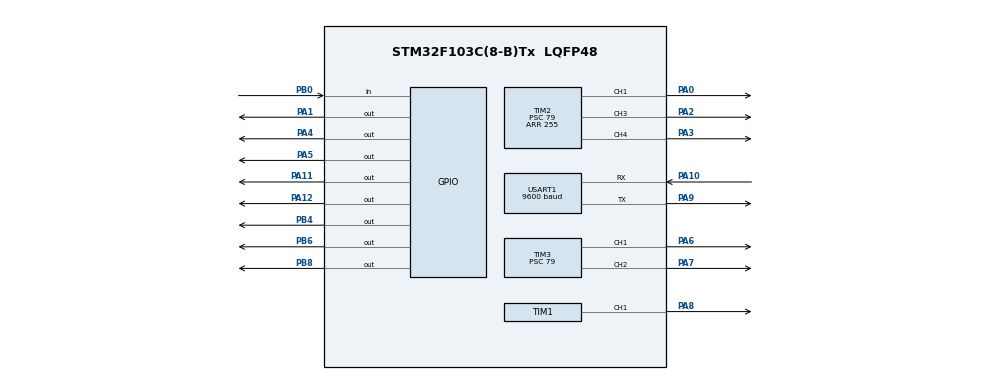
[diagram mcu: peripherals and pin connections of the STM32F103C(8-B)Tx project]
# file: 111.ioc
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Mcu.Family=STM32F1
Mcu.Name=STM32F103C(8-B)Tx
Mcu.Package=LQFP48
NVIC.PriorityGroup=NVIC_PRIORITYGROUP_4
NVIC.TIM4_IRQn=true\:0\:0\:false\:false\:true\:true\:true
NVIC.USART1_IRQn=true\:0\:0\:false\:false\:true\:true\:true
PA0-WKUP.Signal=S_TIM2_CH1_ETR
PA1.Signal=GPIO_Output
PA10.Mode=Asynchronous
PA10.Signal=USART1_RX
PA11.Signal=GPIO_Output
PA12.GPIO_PuPd=GPIO_PULLUP
PA12.Signal=GPIO_Output
PA13.Mode=Serial_Wire
PA13.Signal=SYS_JTMS-SWDIO
PA14.Mode=Serial_Wire
PA14.Signal=SYS_JTCK-SWCLK
PA2.Signal=S_TIM2_CH3
PA3.Signal=S_TIM2_CH4
PA4.GPIO_PuPd=GPIO_PULLUP
PA4.Signal=GPIO_Output
PA5.GPIO_PuPd=GPIO_PULLUP
PA5.Signal=GPIO_Output
PA6.Signal=S_TIM3_CH1
PA7.Signal=S_TIM3_CH2
PA8.Signal=S_TIM1_CH1
PA9.Mode=Asynchronous
PA9.Signal=USART1_TX
PB0.Signal=GPIO_Input
PB4.GPIO_PuPd=GPIO_PULLDOWN
PB4.PinState=GPIO_PIN_RESET
PB4.Signal=GPIO_Output
PB6.GPIO_ModeDefaultOutputPP=GPIO_MODE_OUTPUT_PP
PB6.GPIO_PuPd=GPIO_PULLDOWN
PB6.PinState=GPIO_PIN_RESET
PB6.Signal=GPIO_Output
PB8.GPIO_ModeDefaultOutputPP=GPIO_MODE_OUTPUT_PP
PB8.GPIO_PuPd=GPIO_PULLUP
PB8.PinState=GPIO_PIN_SET
PB8.Signal=GPIO_Output
PD0-OSC_IN.Mode=HSE-External-Clock-Source
PD0-OSC_IN.Signal=RCC_OSC_IN
PD1-OSC_OUT.Mode=HSE-External-Clock-Source
PD1-OSC_OUT.Signal=RCC_OSC_OUT
ProjectManager.HeapSize=0x200
ProjectManager.StackSize=0x400
ProjectManager.TargetToolchain=EWARM V8
RCC.AHBFreq_Value=8000000
RCC.APB1Freq_Value=8000000
RCC.APB1TimFreq_Value=8000000
RCC.APB2Freq_Value=8000000
RCC.APB2TimFreq_Value=8000000
RCC.HCLKFreq_Value=8000000
RCC.PLLSourceVirtual=RCC_PLLSOURCE_HSE
RCC.SYSCLKFreq_VALUE=8000000
RCC.USBFreq_Value=16000000
SH.S_TIM1_CH1.0=TIM1_CH1,PWM Generation1 CH1
SH.S_TIM2_CH1_ETR.0=TIM2_CH1,PWM Generation1 CH1
SH.S_TIM2_CH3.0=TIM2_CH3,PWM Generation3 CH3
SH.S_TIM2_CH4.0=TIM2_CH4,PWM Generation4 CH4
SH.S_TIM3_CH1.0=TIM3_CH1,PWM Generation1 CH1
SH.S_TIM3_CH2.0=TIM3_CH2,PWM Generation2 CH2
TIM1.AutoReloadPreload=TIM_AUTORELOAD_PRELOAD_ENABLE
TIM1.Channel-PWM\ Generation1\ CH1=TIM_CHANNEL_1
TIM1.OCFastMode_PWM-PWM\ Generation1\ CH1=TIM_OCFAST_ENABLE
TIM1.Period=255
TIM1.Prescaler=79
TIM1.Pulse-PWM\ Generation1\ CH1=50
TIM2.AutoReloadPreload=TIM_AUTORELOAD_PRELOAD_ENABLE
TIM2.Channel-PWM\ Generation1\ CH1=TIM_CHANNEL_1
TIM2.Channel-PWM\ Generation3\ CH3=TIM_CHANNEL_3
TIM2.Channel-PWM\ Generation4\ CH4=TIM_CHANNEL_4
TIM2.OCFastMode_PWM-PWM\ Generation1\ CH1=TIM_OCFAST_ENABLE
TIM2.OCFastMode_PWM-PWM\ Generation4\ CH4=TIM_OCFAST_ENABLE
TIM2.Period=255
TIM2.Prescaler=79
TIM2.Pulse-PWM\ Generation1\ CH1=50
TIM2.Pulse-PWM\ Generation3\ CH3=50
TIM2.Pulse-PWM\ Generation4\ CH4=50
TIM3.AutoReloadPreload=TIM_AUTORELOAD_PRELOAD_ENABLE
TIM3.Channel-PWM\ Generation1\ CH1=TIM_CHANNEL_1
TIM3.Channel-PWM\ Generation2\ CH2=TIM_CHANNEL_2
TIM3.OCFastMode_PWM-PWM\ Generation1\ CH1=TIM_OCFAST_ENABLE
TIM3.OCFastMode_PWM-PWM\ Generation2\ CH2=TIM_OCFAST_ENABLE
TIM3.Period=255
TIM3.Prescaler=79
TIM3.Pulse-PWM\ Generation1\ CH1=50
TIM3.Pulse-PWM\ Generation2\ CH2=50
TIM4.AutoReloadPreload=TIM_AUTORELOAD_PRELOAD_ENABLE
TIM4.Channel-Output\ Compare2\ No\ Output=TIM_CHANNEL_2
TIM4.OCMode_2=TIM_OCMODE_TOGGLE
TIM4.Period=10000
TIM4.Prescaler=79
USART1.BaudRate=9600
USART1.VirtualMode=VM_ASYNC
VP_TIM4_VS_no_output2.Mode=Output Compare2 No Output
board=custom

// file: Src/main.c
/* USER CODE BEGIN Header */
/**
******************************************************************************
* @file           : main.c
* @brief          : Main program body
******************************************************************************
* @attention
*
* <h2><center>&copy; Copyright (c) 2019 STMicroelectronics.
* All rights reserved.</center></h2>
*
* This software component is licensed by ST under BSD 3-Clause license,
* the "License"; You may not use this file except in compliance with the
* License. You may obtain a copy of the License at:
*                        opensource.org/licenses/BSD-3-Clause
*
******************************************************************************
*/
/* USER CODE END Header */

#include "main.h"

void SystemClock_Config(void);
static void MX_GPIO_Init(void);
static void MX_TIM2_Init(void);
static void MX_TIM3_Init(void);
static void MX_USART1_UART_Init(void);
static void MX_TIM1_Init(void);
static void MX_TIM4_Init(void);
/* USER CODE BEGIN PFP */
void direct(uint8_t);

/* USER CODE END PFP */

/* USER CODE BEGIN 0 */

void direct(uint8_t dir){

    GPIOA->BSRR |= GPIO_BSRR_BR4;   /* Enable DIR_EN */
    GPIOA->BSRR |= GPIO_BSRR_BR11;  /*  DIR_LATCH LOW */
    GPIOA->BSRR |= GPIO_BSRR_BR1;   /*  DIR_CLK_LOW */
  for(int i=0; i<=7; i++){
    GPIOA->BSRR |= GPIO_BSRR_BR1;   /*  DIR_CLK_LOW */
  //  LL_mDelay(10);
    if (dir&0x01U==1){
      GPIOA->BSRR |= GPIO_BSRR_BS5; /*  DIR_SER_HIGHT */
    }
    else{
      GPIOA->BSRR |= GPIO_BSRR_BR5;  /*  DIR_SER_LOW */
    }
    GPIOA->BSRR |= GPIO_BSRR_BS1;   /*  DIR_CLK_HIGHT */
    dir>>=0x01U;
 //   LL_mDelay(10);
  }
    GPIOA->BSRR |= GPIO_BSRR_BS11;  /*  DIR_LATCH HIGHT */
 //   LL_mDelay(10);
    GPIOA->BSRR |= GPIO_BSRR_BR11;  /*  DIR_LATCH LOW */
}

/* USER CODE END 0 */

int main(void)
{

  /* MCU Configuration--------------------------------------------------------*/

  /* Reset of all peripherals, Initializes the Flash interface and the Systick. */

  LL_APB2_GRP1_EnableClock(LL_APB2_GRP1_PERIPH_AFIO);
  LL_APB1_GRP1_EnableClock(LL_APB1_GRP1_PERIPH_PWR);

  NVIC_SetPriorityGrouping(NVIC_PRIORITYGROUP_4);

  /* System interrupt init*/

  /** NOJTAG: JTAG-DP Disabled and SW-DP Enabled
  */
  LL_GPIO_AF_Remap_SWJ_NOJTAG();

  /* Configure the system clock */
  SystemClock_Config();

  /* Initialize all configured peripherals */
  MX_GPIO_Init();
  MX_TIM2_Init();
  MX_TIM3_Init();
  MX_USART1_UART_Init();
  MX_TIM1_Init();
  MX_TIM4_Init();
  /* USER CODE BEGIN 2 */
  LL_TIM_CC_EnableChannel(TIM2, LL_TIM_CHANNEL_CH1);
  LL_TIM_CC_EnableChannel(TIM2, LL_TIM_CHANNEL_CH3);
  LL_TIM_CC_EnableChannel(TIM2, LL_TIM_CHANNEL_CH4);
  LL_TIM_EnableCounter(TIM2);

  LL_TIM_CC_EnableChannel(TIM3, LL_TIM_CHANNEL_CH1);
  LL_TIM_CC_EnableChannel(TIM3, LL_TIM_CHANNEL_CH2);
  LL_TIM_EnableCounter(TIM3);

  LL_TIM_CC_EnableChannel(TIM1, LL_TIM_CHANNEL_CH1);
  LL_TIM_EnableAutomaticOutput(TIM1);
  LL_TIM_EnableCounter(TIM1);

  LL_TIM_CC_EnableChannel(TIM4, LL_TIM_CHANNEL_CH2);
  LL_TIM_EnableIT_CC4(TIM4);
  LL_TIM_EnableCounter(TIM4);

  direct(STOP);
  USART1->CR1 |= USART_CR1_RXNEIE;

  /* USER CODE END 2 */

  /* Infinite loop */
  /* USER CODE BEGIN WHILE */
  while (1)
  {

   LL_GPIO_TogglePin(GPIOB, LL_GPIO_PIN_8);

   LL_mDelay(200);

    /* USER CODE END WHILE */

  }
}

void SystemClock_Config(void)
{
  LL_FLASH_SetLatency(LL_FLASH_LATENCY_0);

  if(LL_FLASH_GetLatency() != LL_FLASH_LATENCY_0)
  {
    Error_Handler();
  }
  LL_RCC_HSI_SetCalibTrimming(16);
  LL_RCC_HSI_Enable();

   /* Wait till HSI is ready */
  while(LL_RCC_HSI_IsReady() != 1)
  {

  }
  LL_RCC_SetAHBPrescaler(LL_RCC_SYSCLK_DIV_1);
  LL_RCC_SetAPB1Prescaler(LL_RCC_APB1_DIV_1);
  LL_RCC_SetAPB2Prescaler(LL_RCC_APB2_DIV_1);
  LL_RCC_SetSysClkSource(LL_RCC_SYS_CLKSOURCE_HSI);

   /* Wait till System clock is ready */
  while(LL_RCC_GetSysClkSource() != LL_RCC_SYS_CLKSOURCE_STATUS_HSI)
  {

  }
  LL_Init1msTick(8000000);
  LL_SYSTICK_SetClkSource(LL_SYSTICK_CLKSOURCE_HCLK);
  LL_SetSystemCoreClock(8000000);
}

static void MX_TIM1_Init(void)
{

  LL_TIM_InitTypeDef TIM_InitStruct = {0};
  LL_TIM_OC_InitTypeDef TIM_OC_InitStruct = {0};
  LL_TIM_BDTR_InitTypeDef TIM_BDTRInitStruct = {0};

  LL_GPIO_InitTypeDef GPIO_InitStruct = {0};

  /* Peripheral clock enable */
  LL_APB2_GRP1_EnableClock(LL_APB2_GRP1_PERIPH_TIM1);

  TIM_InitStruct.Prescaler = 79;
  TIM_InitStruct.CounterMode = LL_TIM_COUNTERMODE_UP;
  TIM_InitStruct.Autoreload = 255;
  TIM_InitStruct.ClockDivision = LL_TIM_CLOCKDIVISION_DIV1;
  TIM_InitStruct.RepetitionCounter = 0;
  LL_TIM_Init(TIM1, &TIM_InitStruct);
  LL_TIM_EnableARRPreload(TIM1);
  LL_TIM_OC_EnablePreload(TIM1, LL_TIM_CHANNEL_CH1);
  TIM_OC_InitStruct.OCMode = LL_TIM_OCMODE_PWM1;
  TIM_OC_InitStruct.OCState = LL_TIM_OCSTATE_DISABLE;
  TIM_OC_InitStruct.OCNState = LL_TIM_OCSTATE_DISABLE;
  TIM_OC_InitStruct.CompareValue = 50;
  TIM_OC_InitStruct.OCPolarity = LL_TIM_OCPOLARITY_HIGH;
  TIM_OC_InitStruct.OCNPolarity = LL_TIM_OCPOLARITY_HIGH;
  TIM_OC_InitStruct.OCIdleState = LL_TIM_OCIDLESTATE_LOW;
  TIM_OC_InitStruct.OCNIdleState = LL_TIM_OCIDLESTATE_LOW;
  LL_TIM_OC_Init(TIM1, LL_TIM_CHANNEL_CH1, &TIM_OC_InitStruct);
  LL_TIM_OC_EnableFast(TIM1, LL_TIM_CHANNEL_CH1);
  LL_TIM_SetTriggerOutput(TIM1, LL_TIM_TRGO_RESET);
  LL_TIM_DisableMasterSlaveMode(TIM1);
  TIM_BDTRInitStruct.OSSRState = LL_TIM_OSSR_DISABLE;
  TIM_BDTRInitStruct.OSSIState = LL_TIM_OSSI_DISABLE;
  TIM_BDTRInitStruct.LockLevel = LL_TIM_LOCKLEVEL_OFF;
  TIM_BDTRInitStruct.DeadTime = 0;
  TIM_BDTRInitStruct.BreakState = LL_TIM_BREAK_DISABLE;
  TIM_BDTRInitStruct.BreakPolarity = LL_TIM_BREAK_POLARITY_HIGH;
  TIM_BDTRInitStruct.AutomaticOutput = LL_TIM_AUTOMATICOUTPUT_DISABLE;
  LL_TIM_BDTR_Init(TIM1, &TIM_BDTRInitStruct);
  LL_APB2_GRP1_EnableClock(LL_APB2_GRP1_PERIPH_GPIOA);
  /**TIM1 GPIO Configuration
  PA8   ------> TIM1_CH1
  */
  GPIO_InitStruct.Pin = LL_GPIO_PIN_8;
  GPIO_InitStruct.Mode = LL_GPIO_MODE_ALTERNATE;
  GPIO_InitStruct.Speed = LL_GPIO_SPEED_FREQ_LOW;
  GPIO_InitStruct.OutputType = LL_GPIO_OUTPUT_PUSHPULL;
  LL_GPIO_Init(GPIOA, &GPIO_InitStruct);

}

static void MX_TIM2_Init(void)
{

  LL_TIM_InitTypeDef TIM_InitStruct = {0};
  LL_TIM_OC_InitTypeDef TIM_OC_InitStruct = {0};

  LL_GPIO_InitTypeDef GPIO_InitStruct = {0};

  /* Peripheral clock enable */
  LL_APB1_GRP1_EnableClock(LL_APB1_GRP1_PERIPH_TIM2);

  TIM_InitStruct.Prescaler = 79;
  TIM_InitStruct.CounterMode = LL_TIM_COUNTERMODE_UP;
  TIM_InitStruct.Autoreload = 255;
  TIM_InitStruct.ClockDivision = LL_TIM_CLOCKDIVISION_DIV1;
  LL_TIM_Init(TIM2, &TIM_InitStruct);
  LL_TIM_EnableARRPreload(TIM2);
  LL_TIM_OC_EnablePreload(TIM2, LL_TIM_CHANNEL_CH1);
  TIM_OC_InitStruct.OCMode = LL_TIM_OCMODE_PWM1;
  TIM_OC_InitStruct.OCState = LL_TIM_OCSTATE_DISABLE;
  TIM_OC_InitStruct.OCNState = LL_TIM_OCSTATE_DISABLE;
  TIM_OC_InitStruct.CompareValue = 50;
  TIM_OC_InitStruct.OCPolarity = LL_TIM_OCPOLARITY_HIGH;
  LL_TIM_OC_Init(TIM2, LL_TIM_CHANNEL_CH1, &TIM_OC_InitStruct);
  LL_TIM_OC_EnableFast(TIM2, LL_TIM_CHANNEL_CH1);
  LL_TIM_OC_EnablePreload(TIM2, LL_TIM_CHANNEL_CH3);
  TIM_OC_InitStruct.OCState = LL_TIM_OCSTATE_DISABLE;
  TIM_OC_InitStruct.OCNState = LL_TIM_OCSTATE_DISABLE;
  LL_TIM_OC_Init(TIM2, LL_TIM_CHANNEL_CH3, &TIM_OC_InitStruct);
  LL_TIM_OC_DisableFast(TIM2, LL_TIM_CHANNEL_CH3);
  LL_TIM_OC_EnablePreload(TIM2, LL_TIM_CHANNEL_CH4);
  TIM_OC_InitStruct.OCState = LL_TIM_OCSTATE_DISABLE;
  TIM_OC_InitStruct.OCNState = LL_TIM_OCSTATE_DISABLE;
  LL_TIM_OC_Init(TIM2, LL_TIM_CHANNEL_CH4, &TIM_OC_InitStruct);
  LL_TIM_OC_EnableFast(TIM2, LL_TIM_CHANNEL_CH4);
  LL_TIM_SetTriggerOutput(TIM2, LL_TIM_TRGO_RESET);
  LL_TIM_DisableMasterSlaveMode(TIM2);
  LL_APB2_GRP1_EnableClock(LL_APB2_GRP1_PERIPH_GPIOA);
  /**TIM2 GPIO Configuration
  PA0-WKUP   ------> TIM2_CH1
  PA2   ------> TIM2_CH3
  PA3   ------> TIM2_CH4
  */
  GPIO_InitStruct.Pin = LL_GPIO_PIN_0|LL_GPIO_PIN_2|LL_GPIO_PIN_3;
  GPIO_InitStruct.Mode = LL_GPIO_MODE_ALTERNATE;
  GPIO_InitStruct.Speed = LL_GPIO_SPEED_FREQ_LOW;
  GPIO_InitStruct.OutputType = LL_GPIO_OUTPUT_PUSHPULL;
  LL_GPIO_Init(GPIOA, &GPIO_InitStruct);

}

static void MX_TIM3_Init(void)
{

  LL_TIM_InitTypeDef TIM_InitStruct = {0};
  LL_TIM_OC_InitTypeDef TIM_OC_InitStruct = {0};

  LL_GPIO_InitTypeDef GPIO_InitStruct = {0};

  /* Peripheral clock enable */
  LL_APB1_GRP1_EnableClock(LL_APB1_GRP1_PERIPH_TIM3);

  TIM_InitStruct.Prescaler = 79;
  TIM_InitStruct.CounterMode = LL_TIM_COUNTERMODE_UP;
  TIM_InitStruct.Autoreload = 255;
  TIM_InitStruct.ClockDivision = LL_TIM_CLOCKDIVISION_DIV1;
  LL_TIM_Init(TIM3, &TIM_InitStruct);
  LL_TIM_EnableARRPreload(TIM3);
  LL_TIM_OC_EnablePreload(TIM3, LL_TIM_CHANNEL_CH1);
  TIM_OC_InitStruct.OCMode = LL_TIM_OCMODE_PWM1;
  TIM_OC_InitStruct.OCState = LL_TIM_OCSTATE_DISABLE;
  TIM_OC_InitStruct.OCNState = LL_TIM_OCSTATE_DISABLE;
  TIM_OC_InitStruct.CompareValue = 50;
  TIM_OC_InitStruct.OCPolarity = LL_TIM_OCPOLARITY_HIGH;
  LL_TIM_OC_Init(TIM3, LL_TIM_CHANNEL_CH1, &TIM_OC_InitStruct);
  LL_TIM_OC_EnableFast(TIM3, LL_TIM_CHANNEL_CH1);
  LL_TIM_OC_EnablePreload(TIM3, LL_TIM_CHANNEL_CH2);
  TIM_OC_InitStruct.OCState = LL_TIM_OCSTATE_DISABLE;
  TIM_OC_InitStruct.OCNState = LL_TIM_OCSTATE_DISABLE;
  LL_TIM_OC_Init(TIM3, LL_TIM_CHANNEL_CH2, &TIM_OC_InitStruct);
  LL_TIM_OC_EnableFast(TIM3, LL_TIM_CHANNEL_CH2);
  LL_TIM_SetTriggerOutput(TIM3, LL_TIM_TRGO_RESET);
  LL_TIM_DisableMasterSlaveMode(TIM3);
  LL_APB2_GRP1_EnableClock(LL_APB2_GRP1_PERIPH_GPIOA);
  /**TIM3 GPIO Configuration
  PA6   ------> TIM3_CH1
  PA7   ------> TIM3_CH2
  */
  GPIO_InitStruct.Pin = LL_GPIO_PIN_6|LL_GPIO_PIN_7;
  GPIO_InitStruct.Mode = LL_GPIO_MODE_ALTERNATE;
  GPIO_InitStruct.Speed = LL_GPIO_SPEED_FREQ_LOW;
  GPIO_InitStruct.OutputType = LL_GPIO_OUTPUT_PUSHPULL;
  LL_GPIO_Init(GPIOA, &GPIO_InitStruct);

}

static void MX_TIM4_Init(void)
{

  LL_TIM_InitTypeDef TIM_InitStruct = {0};
  LL_TIM_OC_InitTypeDef TIM_OC_InitStruct = {0};

  /* Peripheral clock enable */
  LL_APB1_GRP1_EnableClock(LL_APB1_GRP1_PERIPH_TIM4);

  /* TIM4 interrupt Init */
  NVIC_SetPriority(TIM4_IRQn, NVIC_EncodePriority(NVIC_GetPriorityGrouping(),0, 0));
  NVIC_EnableIRQ(TIM4_IRQn);

  TIM_InitStruct.Prescaler = 79;
  TIM_InitStruct.CounterMode = LL_TIM_COUNTERMODE_UP;
  TIM_InitStruct.Autoreload = 10000;
  TIM_InitStruct.ClockDivision = LL_TIM_CLOCKDIVISION_DIV1;
  LL_TIM_Init(TIM4, &TIM_InitStruct);
  LL_TIM_EnableARRPreload(TIM4);
  TIM_OC_InitStruct.OCMode = LL_TIM_OCMODE_TOGGLE;
  TIM_OC_InitStruct.OCState = LL_TIM_OCSTATE_DISABLE;
  TIM_OC_InitStruct.OCNState = LL_TIM_OCSTATE_DISABLE;
  TIM_OC_InitStruct.CompareValue = 0;
  TIM_OC_InitStruct.OCPolarity = LL_TIM_OCPOLARITY_HIGH;
  LL_TIM_OC_Init(TIM4, LL_TIM_CHANNEL_CH2, &TIM_OC_InitStruct);
  LL_TIM_OC_DisableFast(TIM4, LL_TIM_CHANNEL_CH2);
  LL_TIM_SetTriggerOutput(TIM4, LL_TIM_TRGO_RESET);
  LL_TIM_DisableMasterSlaveMode(TIM4);

}

static void MX_USART1_UART_Init(void)
{

  LL_USART_InitTypeDef USART_InitStruct = {0};

  LL_GPIO_InitTypeDef GPIO_InitStruct = {0};

  /* Peripheral clock enable */
  LL_APB2_GRP1_EnableClock(LL_APB2_GRP1_PERIPH_USART1);

  LL_APB2_GRP1_EnableClock(LL_APB2_GRP1_PERIPH_GPIOA);
  /**USART1 GPIO Configuration
  PA9   ------> USART1_TX
  PA10   ------> USART1_RX
  */
  GPIO_InitStruct.Pin = LL_GPIO_PIN_9;
  GPIO_InitStruct.Mode = LL_GPIO_MODE_ALTERNATE;
  GPIO_InitStruct.Speed = LL_GPIO_SPEED_FREQ_HIGH;
  GPIO_InitStruct.OutputType = LL_GPIO_OUTPUT_PUSHPULL;
  LL_GPIO_Init(GPIOA, &GPIO_InitStruct);

  GPIO_InitStruct.Pin = LL_GPIO_PIN_10;
  GPIO_InitStruct.Mode = LL_GPIO_MODE_FLOATING;
  LL_GPIO_Init(GPIOA, &GPIO_InitStruct);

  /* USART1 interrupt Init */
  NVIC_SetPriority(USART1_IRQn, NVIC_EncodePriority(NVIC_GetPriorityGrouping(),0, 0));
  NVIC_EnableIRQ(USART1_IRQn);

  USART_InitStruct.BaudRate = 9600;
  USART_InitStruct.DataWidth = LL_USART_DATAWIDTH_8B;
  USART_InitStruct.StopBits = LL_USART_STOPBITS_1;
  USART_InitStruct.Parity = LL_USART_PARITY_NONE;
  USART_InitStruct.TransferDirection = LL_USART_DIRECTION_TX_RX;
  USART_InitStruct.HardwareFlowControl = LL_USART_HWCONTROL_NONE;
  LL_USART_Init(USART1, &USART_InitStruct);
  LL_USART_ConfigAsyncMode(USART1);
  LL_USART_Enable(USART1);

}

static void MX_GPIO_Init(void)
{
  LL_GPIO_InitTypeDef GPIO_InitStruct = {0};

  /* GPIO Ports Clock Enable */
  LL_APB2_GRP1_EnableClock(LL_APB2_GRP1_PERIPH_GPIOD);
  LL_APB2_GRP1_EnableClock(LL_APB2_GRP1_PERIPH_GPIOA);
  LL_APB2_GRP1_EnableClock(LL_APB2_GRP1_PERIPH_GPIOB);

  /**/
  LL_GPIO_ResetOutputPin(GPIOA, LL_GPIO_PIN_1|LL_GPIO_PIN_4|LL_GPIO_PIN_5|LL_GPIO_PIN_11
                          |LL_GPIO_PIN_12);

  /**/
  LL_GPIO_ResetOutputPin(GPIOB, LL_GPIO_PIN_4|LL_GPIO_PIN_6);

  /**/
  LL_GPIO_SetOutputPin(GPIOB, LL_GPIO_PIN_8);

  /**/
  GPIO_InitStruct.Pin = LL_GPIO_PIN_1|LL_GPIO_PIN_11;
  GPIO_InitStruct.Mode = LL_GPIO_MODE_OUTPUT;
  GPIO_InitStruct.Speed = LL_GPIO_SPEED_FREQ_LOW;
  GPIO_InitStruct.OutputType = LL_GPIO_OUTPUT_PUSHPULL;
  LL_GPIO_Init(GPIOA, &GPIO_InitStruct);

  /**/
  GPIO_InitStruct.Pin = LL_GPIO_PIN_4|LL_GPIO_PIN_5|LL_GPIO_PIN_12;
  GPIO_InitStruct.Mode = LL_GPIO_MODE_OUTPUT;
  GPIO_InitStruct.Speed = LL_GPIO_SPEED_FREQ_LOW;
  GPIO_InitStruct.OutputType = LL_GPIO_OUTPUT_PUSHPULL;
  GPIO_InitStruct.Pull = LL_GPIO_PULL_UP;
  LL_GPIO_Init(GPIOA, &GPIO_InitStruct);

  /**/
  GPIO_InitStruct.Pin = LL_GPIO_PIN_0;
  GPIO_InitStruct.Mode = LL_GPIO_MODE_FLOATING;
  LL_GPIO_Init(GPIOB, &GPIO_InitStruct);

  /**/
  GPIO_InitStruct.Pin = LL_GPIO_PIN_4|LL_GPIO_PIN_6;
  GPIO_InitStruct.Mode = LL_GPIO_MODE_OUTPUT;
  GPIO_InitStruct.Speed = LL_GPIO_SPEED_FREQ_LOW;
  GPIO_InitStruct.OutputType = LL_GPIO_OUTPUT_PUSHPULL;
  GPIO_InitStruct.Pull = LL_GPIO_PULL_DOWN;
  LL_GPIO_Init(GPIOB, &GPIO_InitStruct);

  /**/
  GPIO_InitStruct.Pin = LL_GPIO_PIN_8;
  GPIO_InitStruct.Mode = LL_GPIO_MODE_OUTPUT;
  GPIO_InitStruct.Speed = LL_GPIO_SPEED_FREQ_LOW;
  GPIO_InitStruct.OutputType = LL_GPIO_OUTPUT_PUSHPULL;
  GPIO_InitStruct.Pull = LL_GPIO_PULL_UP;
  LL_GPIO_Init(GPIOB, &GPIO_InitStruct);

}

void Error_Handler(void)
{
}

/************************ (C) COPYRIGHT STMicroelectronics *****END OF FILE****/
